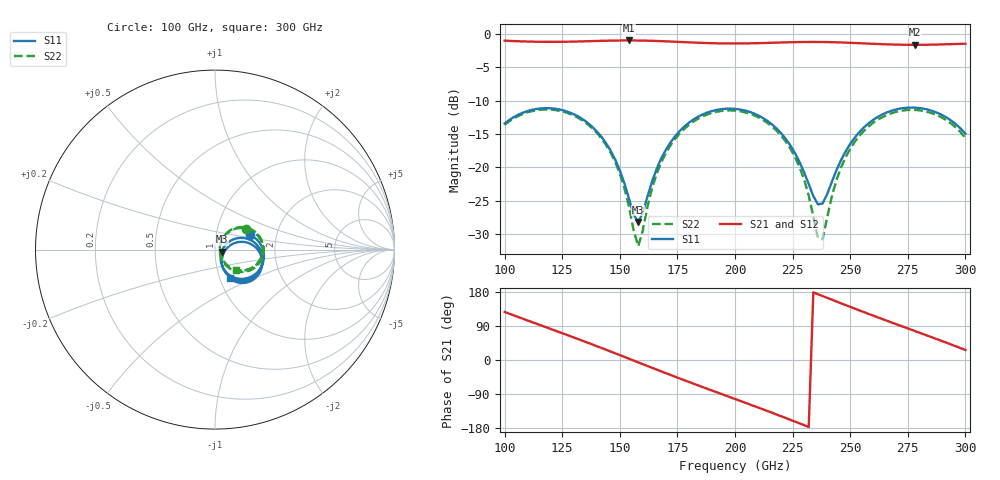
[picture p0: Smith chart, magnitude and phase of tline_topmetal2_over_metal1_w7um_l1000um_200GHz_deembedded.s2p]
! Created with skrf 2.0.1 (http://scikit-rf.org).
# GHz S DB R 50.0
!freq dBS11 angS11 dBS21 angS21 dBS12 angS12 dBS22 angS22
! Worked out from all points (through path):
!   101 points, 100 GHz to 300 GHz, reference 50 ohm
!   highest |S21| = -1.01 dB at 154 GHz (marker M1); lowest = -1.7 dB at 278 GHz (marker M2)
!   group delay of S21, straight-line fit = 6.42 ps
!   lowest |S11| = -28.2 dB at 158 GHz (marker M3), VSWR 1.08, Z = 53.9 - j1.19 ohm
!   |S11| at or under -10 dB: start of sweep to end of sweep
!   |S22| runs from -31.8 to -11.3 dB; largest |S21 - S12| = 5.1e-16
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100  -13.44 22.1  -1.04 126.8  -1.04 126.8  -13.63 33.8
116  -11.17 -9.9  -1.21 90.9  -1.21 90.9  -11.37 3.0
134  -12.82 -45.4  -1.14 50.4  -1.14 50.4  -13.03 -31.9
146  -17.49 -64.6  -1.04 22.4  -1.04 22.4  -17.80 -52.6
154  -24.71 -57.6  -1.01 3.4  -1.01 3.4  -25.90 -51.3
158  -28.18 -16.5  -1.02 -6.2  -1.02 -6.2  -31.80 -0.4
164  -22.12 27.8  -1.06 -20.6  -1.06 -20.6  -23.11 54.6
168  -18.67 29.2  -1.11 -30.1  -1.11 -30.1  -19.24 53.8
184  -12.42 5.0  -1.35 -67.1  -1.35 -67.1  -12.72 27.2
200  -11.25 -25.4  -1.46 -102.9  -1.46 -102.9  -11.51 -3.8
210  -12.22 -44.0  -1.41 -125.3  -1.41 -125.3  -12.49 -23.2
222  -15.72 -62.9  -1.29 -153.0  -1.29 -153.0  -16.12 -45.1
228  -19.18 -66.3  -1.25 -167.2  -1.25 -167.2  -19.94 -52.6
234  -24.30 -49.2  -1.23 178.4  -1.23 178.4  -27.32 -42.6
236  -25.54 -32.5  -1.24 173.6  -1.24 173.6  -30.62 -19.3
238  -25.42 -12.5  -1.24 168.8  -1.24 168.8  -30.77 20.5
244  -20.46 16.9  -1.29 154.5  -1.29 154.5  -21.95 56.4
250  -16.50 16.9  -1.36 140.3  -1.36 140.3  -17.23 51.7
268  -11.52 -10.7  -1.61 99.0  -1.61 99.0  -11.89 19.0
278  -11.06 -28.5  -1.66 76.6  -1.66 76.6  -11.41 -0.8
288  -11.86 -45.9  -1.62 54.2  -1.62 54.2  -12.24 -20.7
300  -14.95 -62.7  -1.49 26.5  -1.49 26.5  -15.59 -43.9
